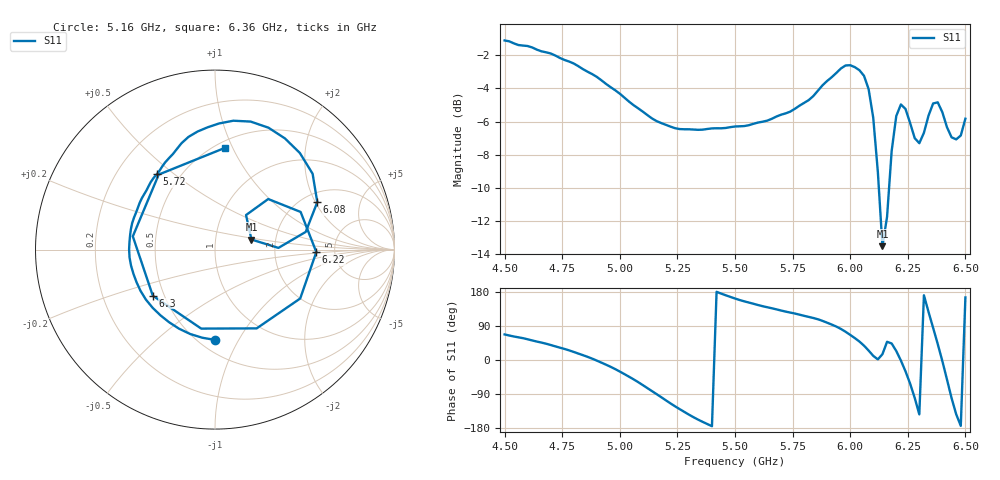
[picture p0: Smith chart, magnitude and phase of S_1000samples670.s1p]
! TOUCHSTONE file generated by CST MICROWAVE STUDIO
! Date and time: Fri Oct 28 23:34:00 2022
! Project name: L.cst
! Parameters = {Di=1.27; Epsilon_r=1.56; InnerDiameter=1.27; Length=2; Lf=10; Lg=60; OuterConductorThickness=0.2921; OuterDiameter=3.6; Wf=3; Wp=41.2; de=1.5; df=6.8; g=0.8; gx=4.03893; gy=1.20209; h=2.34; hf=1.524; px=13.2536; py=12.7636; w=9.7; wx=9.21465; wy=11.5615}
! Header version: 2018
! Port assignment regex: !\s*Touchstone port\s*([0-9]+)\s*=\s*(CST MWS port|CST DS port)\s*([0-9]+|Zmin|Zmax)\s*\(\"(.*)\"\)(\s*mode\s*([0-9]+))?.*
! Touchstone port assignment:
! Touchstone port 1 = CST MWS port 1 ("")
# GHz S DB R 50
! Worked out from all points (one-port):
!   101 points, 4.5 GHz to 6.5 GHz, reference 50 ohm
!   lowest |S11| = -13.5 dB at 6.14 GHz (marker M1), VSWR 1.53, Z = 74.9 + j8.78 ohm
!   |S11| at or under -10 dB: 6.124 GHz to 6.169 GHz (44.45 MHz wide, 0.723 % of centre)
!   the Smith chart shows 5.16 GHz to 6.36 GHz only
!   S11 on the Smith chart (normalised r, x): 5.16 GHz: 0.59, -0.80; 5.72 GHz: 0.37, +0.43; 6.08 GHz: 2.38, +2.07; 6.22 GHz: 3.59, -0.14; 6.3 GHz: 0.43, -0.27; 6.36 GHz: 0.56, +0.93
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4.5  -1.10 67.5
4.76  -2.28 29.2
4.9  -3.30 -1.6
5  -4.31 -30.5
5.16  -5.97 -90.2
5.26  -6.45 -129.7
5.5  -6.29 162.3
5.72  -5.50 127.7
5.76  -5.23 122.6
5.88  -3.81 103.2
6  -2.60 66.3
6.08  -4.04 24.9
6.12  -9.03 1.5
6.14  -13.52 15.4
6.18  -7.77 43.5
6.22  -4.97 -1.4
6.26  -6.08 -62.1
6.28  -7.00 -99.9
6.3  -7.30 -143.5
6.32  -6.67 170.8
6.34  -5.64 126.9
6.36  -4.91 84.6
6.38  -4.84 42.1
6.4  -5.43 -2.9
6.42  -6.34 -51.3
6.44  -6.95 -100.4
6.46  -7.07 -143.0
6.5  -5.82 165.1
